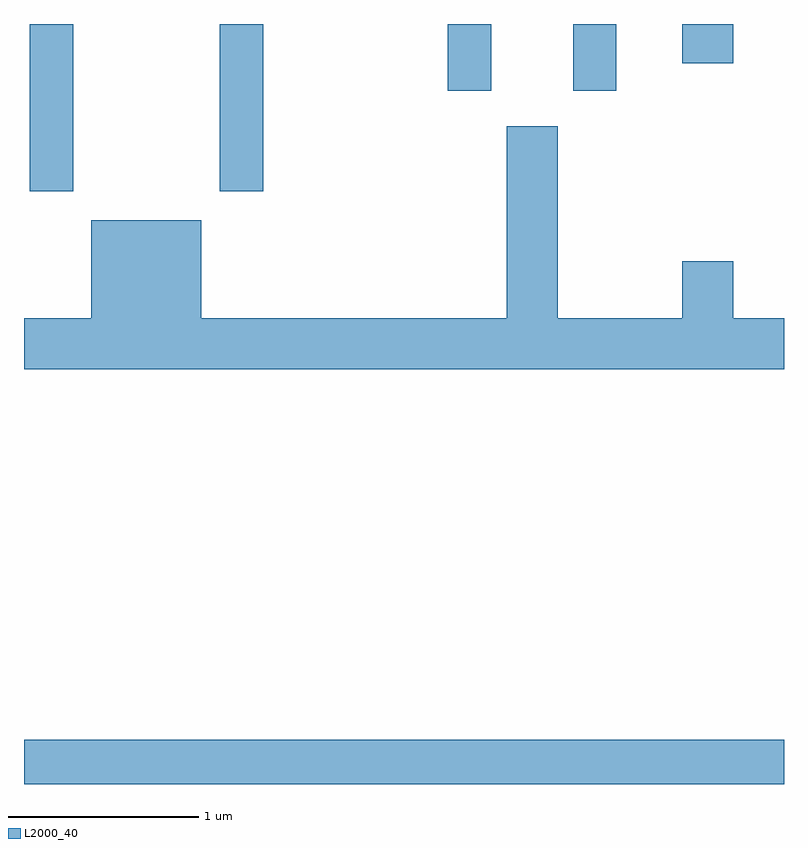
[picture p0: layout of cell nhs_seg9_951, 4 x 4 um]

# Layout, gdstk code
import gdstk
lib = gdstk.Library(unit=1e-6, precision=1e-09)
def R(c, l, rs):  # rectangles x0, y0, x1, y1
    for r in rs: c.add(gdstk.rectangle(r[:2], r[2:], *l))
def P(c, l, *ps):  # polygons
    for p in ps: c.add(gdstk.Polygon(p, *l))
L2000_40 = (2000, 40)

nhs_seg9_951 = lib.new_cell('nhs_seg9_951')
R(nhs_seg9_951, L2000_40, [(211.611,2078.432,215.611,2078.664), (211.641,2081.551,211.869,2082.432), (212.641,2081.551,212.869,2082.432), (213.841,2082.081,214.069,2082.432), (214.501,2082.081,214.729,2082.432), (215.076,2082.226,215.344,2082.432)])
P(nhs_seg9_951, L2000_40, [(215.611,2080.884),(215.344,2080.884),(215.344,2081.184),(215.076,2081.184),(215.076,2080.884),(214.419,2080.884),(214.419,2081.894),(214.151,2081.894),(214.151,2080.884),(212.544,2080.884),(212.544,2081.399),(211.966,2081.399),(211.966,2080.884),(211.611,2080.884),(211.611,2080.616),(215.611,2080.616)])

lib.write_gds('nhs_seg9_951.gds')
